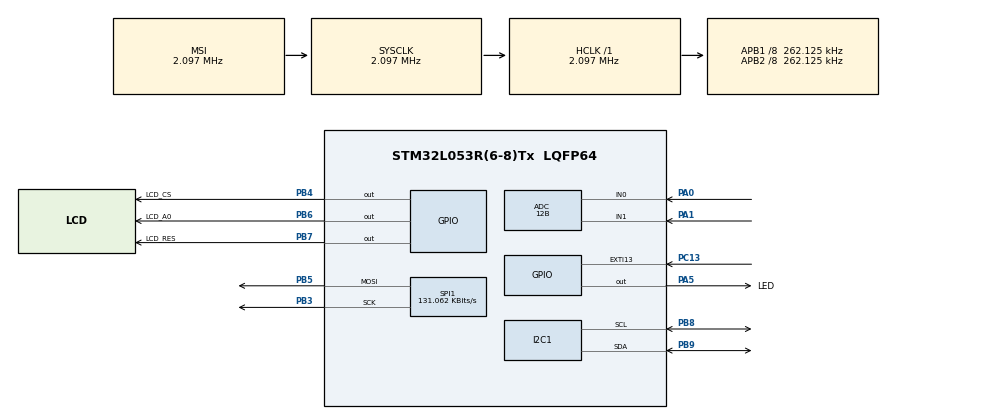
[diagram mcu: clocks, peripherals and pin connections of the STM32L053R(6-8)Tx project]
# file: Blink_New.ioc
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ADC.ClockPrescaler=ADC_CLOCK_ASYNC_DIV1
ADC.ContinuousConvMode=ENABLE
ADC.DMAContinuousRequests=DISABLE
ADC.DataAlign=ADC_DATAALIGN_RIGHT
ADC.DiscontinuousConvMode=DISABLE
ADC.EOCSelection=ADC_EOC_SEQ_CONV
ADC.EnableAnalogWatchDog=false
ADC.ExternalTrigConv=ADC_SOFTWARE_START
ADC.ExternalTrigConvEdge=ADC_EXTERNALTRIGCONVEDGE_NONE
ADC.LowPowerAutoPowerOff=DISABLE
ADC.LowPowerAutoWait=DISABLE
ADC.LowPowerFrequencyMode=DISABLE
ADC.Overrun=ADC_OVR_DATA_PRESERVED
ADC.OversamplingMode=ENABLE
ADC.Ratio=ADC_OVERSAMPLING_RATIO_8
ADC.Resolution=ADC_RESOLUTION_12B
ADC.RightBitShift=ADC_RIGHTBITSHIFT_1
ADC.SamplingTime=ADC_SAMPLETIME_7CYCLES_5
ADC.ScanConvMode=ADC_SCAN_DIRECTION_FORWARD
Dma.ADC.0.Direction=DMA_PERIPH_TO_MEMORY
Dma.ADC.0.Instance=DMA1_Channel1
Dma.ADC.0.MemDataAlignment=DMA_MDATAALIGN_HALFWORD
Dma.ADC.0.MemInc=DMA_MINC_ENABLE
Dma.ADC.0.Mode=DMA_CIRCULAR
Dma.ADC.0.PeriphDataAlignment=DMA_PDATAALIGN_HALFWORD
Dma.ADC.0.PeriphInc=DMA_PINC_DISABLE
Dma.ADC.0.Priority=DMA_PRIORITY_MEDIUM
Dma.I2C1_RX.1.Direction=DMA_PERIPH_TO_MEMORY
Dma.I2C1_RX.1.Instance=DMA1_Channel3
Dma.I2C1_RX.1.MemDataAlignment=DMA_MDATAALIGN_BYTE
Dma.I2C1_RX.1.MemInc=DMA_MINC_ENABLE
Dma.I2C1_RX.1.Mode=DMA_CIRCULAR
Dma.I2C1_RX.1.PeriphDataAlignment=DMA_PDATAALIGN_BYTE
Dma.I2C1_RX.1.PeriphInc=DMA_PINC_DISABLE
Dma.I2C1_RX.1.Priority=DMA_PRIORITY_LOW
Dma.Request0=ADC
Dma.Request1=I2C1_RX
I2C1.Timing=0x00000000
Mcu.Family=STM32L0
Mcu.Name=STM32L053R(6-8)Tx
Mcu.Package=LQFP64
NVIC.DMA1_Channel1_IRQn=true\:0\:0\:false\:false\:true\:false
NVIC.DMA1_Channel2_3_IRQn=true\:0\:0\:false\:false\:true\:false
NVIC.EXTI4_15_IRQn=true\:0\:0\:false\:false\:true\:true
NVIC.TIM6_DAC_IRQn=true\:0\:0\:false\:false\:true\:true
PA0.Mode=IN0
PA0.Signal=ADC_IN0
PA1.Mode=IN1
PA1.Signal=ADC_IN1
PA5.GPIO_Label=LED
PA5.Signal=GPIO_Output
PB3.Mode=TX_Only_Simplex_Unidirect_Master
PB3.Signal=SPI1_SCK
PB4.GPIO_Label=LCD_CS
PB4.Signal=GPIO_Output
PB5.Mode=TX_Only_Simplex_Unidirect_Master
PB5.Signal=SPI1_MOSI
PB6.GPIO_Label=LCD_A0
PB6.Signal=GPIO_Output
PB7.GPIO_Label=LCD_RES
PB7.Signal=GPIO_Output
PB8.Mode=I2C
PB8.Signal=I2C1_SCL
PB9.Mode=I2C
PB9.Signal=I2C1_SDA
PC13.GPIO_ModeDefaultEXTI=GPIO_MODE_IT_FALLING
PC13.Signal=GPXTI13
ProjectManager.HeapSize=0x200
ProjectManager.StackSize=0x400
ProjectManager.TargetToolchain=SW4STM32
RCC.AHBFreq_Value=2097000
RCC.APB1CLKDivider=RCC_HCLK_DIV8
RCC.APB1Freq_Value=262125
RCC.APB1TimFreq_Value=524250
RCC.APB2CLKDivider=RCC_HCLK_DIV8
RCC.APB2Freq_Value=262125
RCC.APB2TimFreq_Value=524250
RCC.HCLKFreq_Value=2097000
RCC.HSE_VALUE=8000000
RCC.HSI16_VALUE=16000000
RCC.HSI48_VALUE=48000000
RCC.HSI_VALUE=16000000
RCC.LSE_VALUE=32768
RCC.MSI_VALUE=2097000
RCC.SYSCLKFreq_VALUE=2097000
RCC.VCOOutputFreq_Value=48000000
RTC.Alarm-Alarm\ A=RTC_ALARM_A
RTC.AlarmMaskDateWeekDay-Alarm\ A=RTC_ALARMMASK_DATEWEEKDAY
RTC.AlarmMaskDateWeekDay_B-Alarm\ B=RTC_ALARMMASK_DATEWEEKDAY
RTC.Alarm_B-Alarm\ B=RTC_ALARM_B
RTC.Format=RTC_FORMAT_BIN
RTC.Hours=23
RTC.Minutes=59
RTC.Minutes_B-Alarm\ B=5
RTC.Seconds=30
RTC.SynchPrediv=288
RTC.WakeUpCounter-WakeUp=24000
SPI1.CalculateBaudRate=131.062 KBits/s
SPI1.Direction=SPI_DIRECTION_2LINES
SPI1.Mode=SPI_MODE_MASTER
SPI1.VirtualType=VM_MASTER
TIM6.Period=500
TIM6.Prescaler=999
VP_RTC_VS_RTC_Activate.Mode=RTC_Enabled
VP_RTC_VS_RTC_Alarm_A_Intern.Mode=Alarm A
VP_RTC_VS_RTC_Alarm_B_Intern.Mode=Alarm B
VP_RTC_VS_RTC_Calendar.Mode=RTC_Calendar
VP_RTC_VS_RTC_WakeUp_intern.Mode=WakeUp
VP_TIM6_VS_ClockSourceINT.Mode=Enable_Timer
board=Blink_New

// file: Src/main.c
/**
  ******************************************************************************
  * File Name          : main.c
  * Description        : Main program body
  ******************************************************************************
  ** This notice applies to any and all portions of this file
  * that are not between comment pairs USER CODE BEGIN and
  * USER CODE END. Other portions of this file, whether
  * inserted by the user or by software development tools
  * are owned by their respective copyright owners.
  *
  * COPYRIGHT(c) 2017 STMicroelectronics
  *
  * Redistribution and use in source and binary forms, with or without modification,
  * are permitted provided that the following conditions are met:
  *   1. Redistributions of source code must retain the above copyright notice,
  *      this list of conditions and the following disclaimer.
  *   2. Redistributions in binary form must reproduce the above copyright notice,
  *      this list of conditions and the following disclaimer in the documentation
  *      and/or other materials provided with the distribution.
  *   3. Neither the name of STMicroelectronics nor the names of its contributors
  *      may be used to endorse or promote products derived from this software
  *      without specific prior written permission.
  *
  * THIS SOFTWARE IS PROVIDED BY THE COPYRIGHT HOLDERS AND CONTRIBUTORS "AS IS"
  * AND ANY EXPRESS OR IMPLIED WARRANTIES, INCLUDING, BUT NOT LIMITED TO, THE
  * IMPLIED WARRANTIES OF MERCHANTABILITY AND FITNESS FOR A PARTICULAR PURPOSE ARE
  * DISCLAIMED. IN NO EVENT SHALL THE COPYRIGHT HOLDER OR CONTRIBUTORS BE LIABLE
  * FOR ANY DIRECT, INDIRECT, INCIDENTAL, SPECIAL, EXEMPLARY, OR CONSEQUENTIAL
  * DAMAGES (INCLUDING, BUT NOT LIMITED TO, PROCUREMENT OF SUBSTITUTE GOODS OR
  * SERVICES; LOSS OF USE, DATA, OR PROFITS; OR BUSINESS INTERRUPTION) HOWEVER
  * CAUSED AND ON ANY THEORY OF LIABILITY, WHETHER IN CONTRACT, STRICT LIABILITY,
  * OR TORT (INCLUDING NEGLIGENCE OR OTHERWISE) ARISING IN ANY WAY OUT OF THE USE
  * OF THIS SOFTWARE, EVEN IF ADVISED OF THE POSSIBILITY OF SUCH DAMAGE.
  *
  ******************************************************************************
  */
#include "main.h"
#include "stm32l0xx_hal.h"
#include "adc.h"
#include "dma.h"
#include "i2c.h"
#include "rtc.h"
#include "spi.h"
#include "tim.h"
#include "gpio.h"

/* USER CODE BEGIN Includes */
#include "LM75.h"
#include "ST7565.h"
#include "display.h"
/* USER CODE END Includes */

/* USER CODE BEGIN PV */
/* Private variables ---------------------------------------------------------*/
uint8_t led;
uint8_t state;

extern I2C_HandleTypeDef hi2c1;
uint8_t i2c_rx[LM75_BUFFER_LEN];
/* USER CODE END PV */

void SystemClock_Config(void);

/* USER CODE BEGIN PFP */
/* Private function prototypes -----------------------------------------------*/

/* USER CODE END PFP */

int main(void)
{

  /* MCU Configuration----------------------------------------------------------*/

  /* Reset of all peripherals, Initializes the Flash interface and the Systick. */
  HAL_Init();

  /* Configure the system clock */
  SystemClock_Config();

  /* Initialize all configured peripherals */
  MX_GPIO_Init();
  MX_DMA_Init();
  MX_TIM6_Init();
  MX_RTC_Init();
  MX_ADC_Init();
  MX_SPI1_Init();
  MX_I2C1_Init();

  /* USER CODE BEGIN 2 */
  HAL_TIM_Base_Start_IT(&htim6);

  LM75_GetValue(hi2c1);

  ST7565_begin(0xFF);
  ST7565_drawcircle(64, 32, 10, 1);
  ST7565_display();
  /* USER CODE END 2 */

  /* Infinite loop */
  /* USER CODE BEGIN WHILE */
  while (1)
  {
	  if(state == 0)
	  {
		  // State 0 - Standby

	  }
	  else if (state == 1)
	  {
		  // State 1 -  Charge view
		  chargeView();
	  }
	  else if (state == 2)
	  {
		  // State 2 - Voltage view
		  voltageView();
	  }
	  else if (state == 3)
	  {
		  // State 3 - Temperature view
		  temperatureView();
	  }
  /* USER CODE END WHILE */

  }

}

/** System Clock Configuration
*/
void SystemClock_Config(void)
{

  RCC_OscInitTypeDef RCC_OscInitStruct;
  RCC_ClkInitTypeDef RCC_ClkInitStruct;
  RCC_PeriphCLKInitTypeDef PeriphClkInit;

    /**Configure the main internal regulator output voltage
    */
  __HAL_PWR_VOLTAGESCALING_CONFIG(PWR_REGULATOR_VOLTAGE_SCALE1);

    /**Initializes the CPU, AHB and APB busses clocks
    */
  RCC_OscInitStruct.OscillatorType = RCC_OSCILLATORTYPE_HSI|RCC_OSCILLATORTYPE_LSI
                              |RCC_OSCILLATORTYPE_MSI;
  RCC_OscInitStruct.HSIState = RCC_HSI_ON;
  RCC_OscInitStruct.HSICalibrationValue = 16;
  RCC_OscInitStruct.LSIState = RCC_LSI_ON;
  RCC_OscInitStruct.MSIState = RCC_MSI_ON;
  RCC_OscInitStruct.MSICalibrationValue = 0;
  RCC_OscInitStruct.MSIClockRange = RCC_MSIRANGE_5;
  RCC_OscInitStruct.PLL.PLLState = RCC_PLL_NONE;
  if (HAL_RCC_OscConfig(&RCC_OscInitStruct) != HAL_OK)
  {
    _Error_Handler(__FILE__, __LINE__);
  }

    /**Initializes the CPU, AHB and APB busses clocks
    */
  RCC_ClkInitStruct.ClockType = RCC_CLOCKTYPE_HCLK|RCC_CLOCKTYPE_SYSCLK
                              |RCC_CLOCKTYPE_PCLK1|RCC_CLOCKTYPE_PCLK2;
  RCC_ClkInitStruct.SYSCLKSource = RCC_SYSCLKSOURCE_MSI;
  RCC_ClkInitStruct.AHBCLKDivider = RCC_SYSCLK_DIV1;
  RCC_ClkInitStruct.APB1CLKDivider = RCC_HCLK_DIV8;
  RCC_ClkInitStruct.APB2CLKDivider = RCC_HCLK_DIV8;

  if (HAL_RCC_ClockConfig(&RCC_ClkInitStruct, FLASH_LATENCY_0) != HAL_OK)
  {
    _Error_Handler(__FILE__, __LINE__);
  }

  PeriphClkInit.PeriphClockSelection = RCC_PERIPHCLK_I2C1|RCC_PERIPHCLK_RTC;
  PeriphClkInit.I2c1ClockSelection = RCC_I2C1CLKSOURCE_PCLK1;
  PeriphClkInit.RTCClockSelection = RCC_RTCCLKSOURCE_LSI;
  if (HAL_RCCEx_PeriphCLKConfig(&PeriphClkInit) != HAL_OK)
  {
    _Error_Handler(__FILE__, __LINE__);
  }

    /**Configure the Systick interrupt time
    */
  HAL_SYSTICK_Config(HAL_RCC_GetHCLKFreq()/1000);

    /**Configure the Systick
    */
  HAL_SYSTICK_CLKSourceConfig(SYSTICK_CLKSOURCE_HCLK);

  /* SysTick_IRQn interrupt configuration */
  HAL_NVIC_SetPriority(SysTick_IRQn, 0, 0);
}

/* USER CODE BEGIN 4 */
void HAL_GPIO_EXTI_Callback(uint16_t GPIO_Pin)
{
	if(GPIO_Pin == GPIO_PIN_13)
	{
		led = !led;
		HAL_GPIO_WritePin(GPIOA, GPIO_PIN_5, led);
	}
}

void HAL_TIM_PeriodElapsedCallback(TIM_HandleTypeDef *htim)
{
	led = !led;
	HAL_GPIO_WritePin(GPIOA, GPIO_PIN_5, led);
}
/* USER CODE END 4 */

void _Error_Handler(char * file, int line)
{
  while(1)
  {
  }
}

/************************ (C) COPYRIGHT STMicroelectronics *****END OF FILE****/
